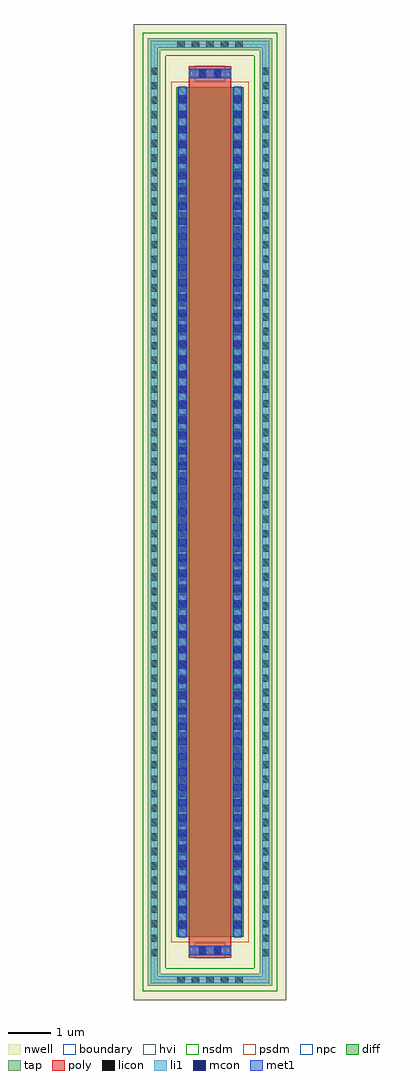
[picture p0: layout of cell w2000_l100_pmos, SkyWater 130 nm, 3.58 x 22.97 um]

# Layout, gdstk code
import gdstk
lib = gdstk.Library(unit=1e-6, precision=1e-09)
def R(c, l, rs):  # rectangles x0, y0, x1, y1
    for r in rs: c.add(gdstk.rectangle(r[:2], r[2:], *l))
def A(c, l, x, y, w, h, nx, ny, dx, dy):  # array of equal rectangles
    R(c, l, [(x+i*dx, y+j*dy, x+i*dx+w, y+j*dy+h) for i in range(nx) for j in range(ny)])
nwell = (64, 20)
diff = (65, 20)
tap = (65, 44)
poly = (66, 20)
licon = (66, 44)
li1 = (67, 20)
mcon = (67, 44)
met1 = (68, 20)
hvi = (75, 20)
nsdm = (93, 44)
psdm = (94, 20)
npc = (95, 20)
boundary = (235, 4)

sky130_fd_pr__pfet_g5v0d = lib.new_cell('sky130_fd_pr__pfet_g5v0d10v5')

w2000_l100_pmos = lib.new_cell('w2000_l100_pmos')
R(w2000_l100_pmos, nwell, [(-1.79,-11.485,1.79,11.485)])
R(w2000_l100_pmos, diff, [(-0.79,-10,0.79,10)])
R(w2000_l100_pmos, tap, [(-1.46,-11.155,1.46,-10.865), (-1.46,-10.865,-1.17,10.865), (1.17,-10.865,1.46,10.865), (-1.46,10.865,1.46,11.155)])
R(w2000_l100_pmos, poly, [(-0.5,-10.485,0.5,10.485)])
A(w2000_l100_pmos, licon, -0.765, -11.095, 0.17, 0.17, 5, 2, 0.34, 22.02)
A(w2000_l100_pmos, licon, -1.4, -10.455, 0.17, 0.17, 1, 62, 0, 0.34)
A(w2000_l100_pmos, licon, 1.23, -10.455, 0.17, 0.17, 1, 62, 0, 0.34)
A(w2000_l100_pmos, licon, -0.73, -9.775, 0.17, 0.17, 1, 58, 0, 0.34)
A(w2000_l100_pmos, licon, 0.56, -9.775, 0.17, 0.17, 1, 58, 0, 0.34)
R(w2000_l100_pmos, licon, [(-0.255,-10.405,-0.085,-10.235), (0.085,-10.405,0.255,-10.235), (-0.255,10.235,-0.085,10.405), (0.085,10.235,0.255,10.405)])
R(w2000_l100_pmos, li1, [(-1.4,-11.095,1.4,-10.925), (-1.4,-10.925,-1.23,10.925), (1.23,-10.925,1.4,10.925), (-0.5,-10.405,0.5,-10.235), (-0.73,-10.02,-0.56,10.02), (0.56,-10.02,0.73,10.02), (-0.5,10.235,0.5,10.405), (-1.4,10.925,1.4,11.095)])
A(w2000_l100_pmos, mcon, -0.73, -9.805, 0.17, 0.17, 1, 55, 0, 0.36)
A(w2000_l100_pmos, mcon, 0.56, -9.805, 0.17, 0.17, 1, 55, 0, 0.36)
R(w2000_l100_pmos, mcon, [(-0.265,-10.405,-0.095,-10.235), (0.095,-10.405,0.265,-10.235), (-0.265,10.235,-0.095,10.405), (0.095,10.235,0.265,10.405)])
R(w2000_l100_pmos, met1, [(-0.48,-10.435,0.48,-10.205), (-0.76,-10,-0.53,10), (0.53,-10,0.76,10), (-0.48,10.205,0.48,10.435)])
R(w2000_l100_pmos, hvi, [(-1.79,-11.485,1.79,11.485)])
R(w2000_l100_pmos, nsdm, [(-1.585,-11.28,1.585,-10.74), (-1.585,-10.74,-1.045,10.74), (1.045,-10.74,1.585,10.74), (-1.585,10.74,1.585,11.28)])
R(w2000_l100_pmos, psdm, [(-0.915,-10.125,0.915,10.125)])
R(w2000_l100_pmos, npc, [(-0.355,-10.505,0.355,-10.135), (-0.355,10.135,0.355,10.505)])
R(w2000_l100_pmos, boundary, [(-1.315,-11.01,1.315,11.01)])
w2000_l100_pmos.add(gdstk.Reference(sky130_fd_pr__pfet_g5v0d, (0,0)))

lib.write_gds('w2000_l100_pmos.gds')
